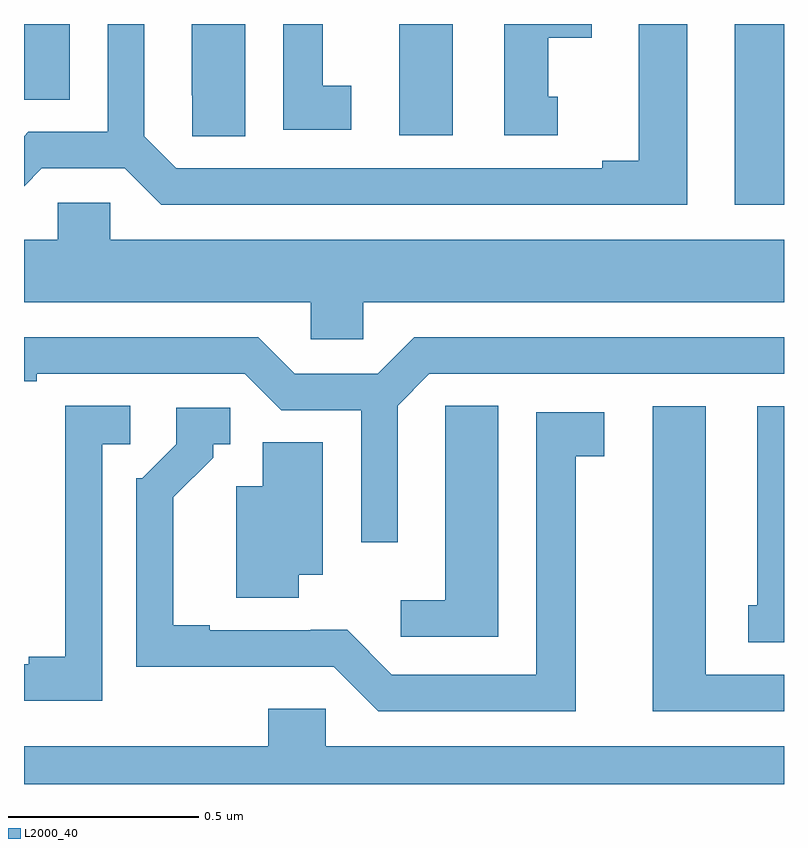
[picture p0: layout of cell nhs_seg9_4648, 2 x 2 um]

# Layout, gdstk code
import gdstk
lib = gdstk.Library(unit=1e-6, precision=1e-09)
def R(c, l, rs):  # rectangles x0, y0, x1, y1
    for r in rs: c.add(gdstk.rectangle(r[:2], r[2:], *l))
def P(c, l, *ps):  # polygons
    for p in ps: c.add(gdstk.Polygon(p, *l))
L2000_40 = (2000, 40)

nhs_seg9_4648 = lib.new_cell('nhs_seg9_4648')
R(nhs_seg9_4648, L2000_40, [(170.87,1182.024,171,1182.5), (169.988,1182.207,170.128,1182.5), (169,1182.301,169.12,1182.5)])
P(nhs_seg9_4648, L2000_40, [(169.861,1182.338),(169.786,1182.338),(169.786,1182.5),(169.682,1182.5),(169.682,1182.222),(169.861,1182.222)],
  [(170.746,1182.5),(170.618,1182.5),(170.618,1182.14),(170.522,1182.14),(170.522,1182.12),(169.401,1182.12),(169.317,1182.204),(169.317,1182.5),(169.221,1182.5),(169.221,1182.216),(169.011,1182.216),(169,1182.205),(169,1182.073),(169.047,1182.12),(169.265,1182.12),(169.361,1182.024),(170.746,1182.024)],
  [(170.404,1182.309),(170.38,1182.309),(170.38,1182.464),(170.494,1182.464),(170.494,1182.5),(170.264,1182.5),(170.264,1182.207),(170.404,1182.207)],
  [(169.582,1182.5),(169.442,1182.5),(169.442,1182.313),(169.443,1182.313),(169.443,1182.205),(169.582,1182.205)],
  [(169.893,1181.768),(171,1181.768),(171,1181.932),(169.227,1181.932),(169.227,1182.03),(169.089,1182.03),(169.089,1181.932),(169,1181.932),(169,1181.768),(169.755,1181.768),(169.755,1181.67),(169.893,1181.67)],
  [(169.983,1181.496),(170.067,1181.58),(171,1181.58),(171,1181.676),(170.027,1181.676),(169.931,1181.58),(169.713,1181.58),(169.617,1181.676),(169,1181.676),(169,1181.56),(169.033,1181.56),(169.033,1181.58),(169.581,1181.58),(169.677,1181.484),(169.887,1181.484),(169.887,1181.136),(169.983,1181.136)],
  [(170.248,1181.495),(170.109,1181.495),(170.109,1181.387),(170.108,1181.387),(170.108,1180.984),(169.992,1180.984),(169.992,1180.887),(170.248,1180.887)],
  [(169.206,1181.394),(169.279,1181.394),(169.279,1181.495),(169.109,1181.495),(169.109,1180.835),(169.013,1180.835),(169.013,1180.815),(169,1180.815),(169,1180.719),(169.206,1180.719)],
  [(171,1180.788),(170.794,1180.788),(170.794,1181.494),(170.654,1181.494),(170.654,1180.692),(171,1180.692)],
  [(171,1181.494),(170.93,1181.494),(170.93,1180.971),(170.906,1180.971),(170.906,1180.873),(171,1180.873)],
  [(170.452,1181.362),(170.527,1181.362),(170.527,1181.478),(170.348,1181.478),(170.348,1180.788),(169.968,1180.788),(169.85,1180.906),(169.754,1180.906),(169.754,1180.905),(169.489,1180.905),(169.489,1180.918),(169.393,1180.918),(169.393,1181.254),(169.498,1181.359),(169.498,1181.394),(169.543,1181.394),(169.543,1181.49),(169.401,1181.49),(169.401,1181.394),(169.311,1181.304),(169.296,1181.304),(169.296,1180.808),(169.559,1180.808),(169.559,1180.809),(169.815,1180.809),(169.932,1180.692),(170.452,1180.692)],
  [(169.723,1181.051),(169.786,1181.051),(169.786,1181.399),(169.628,1181.399),(169.628,1181.284),(169.559,1181.284),(169.559,1180.99),(169.723,1180.99)],
  [(171,1180.6),(169.794,1180.6),(169.794,1180.698),(169.643,1180.698),(169.643,1180.6),(169,1180.6),(169,1180.5),(171,1180.5)])

lib.write_gds('nhs_seg9_4648.gds')
